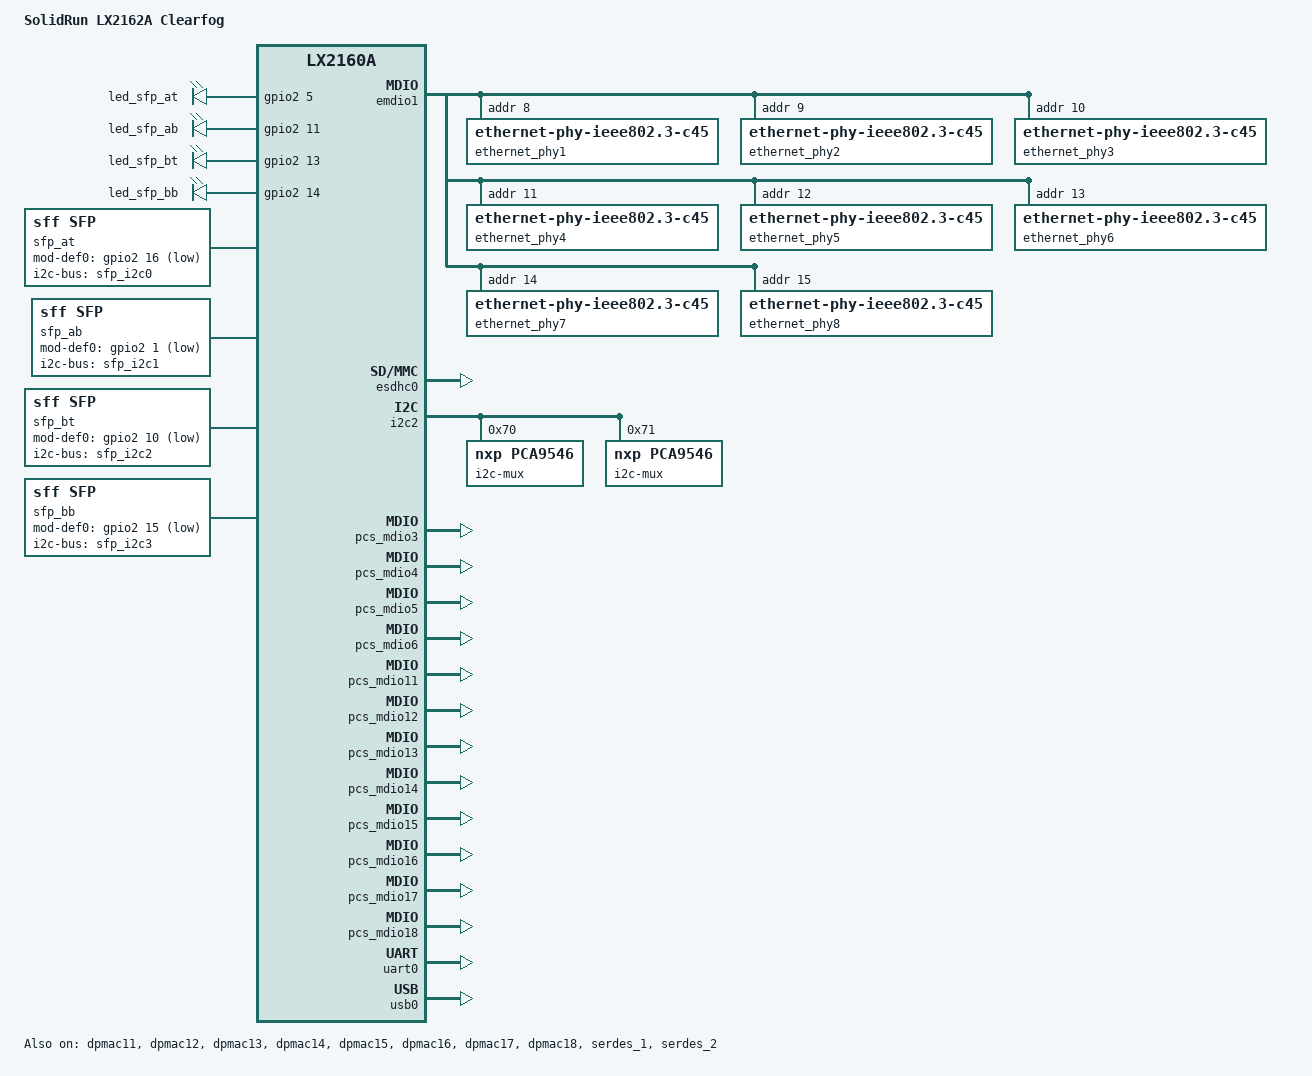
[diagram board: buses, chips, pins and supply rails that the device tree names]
// SPDX-License-Identifier: (GPL-2.0 OR MIT)
//
// Device Tree file for LX2162A Clearfog
//
// Copyright 2023 Josua Mayer <josua@solid-run.com>

/dts-v1/;

#include "fsl-lx2160a.dtsi"
#include "fsl-lx2162a-sr-som.dtsi"

/ {
	model = "SolidRun LX2162A Clearfog";
	compatible = "solidrun,lx2162a-clearfog", "solidrun,lx2162a-som", "fsl,lx2160a";

	aliases {
		crypto = &crypto;
		i2c0 = &i2c0;
		i2c1 = &i2c2;
		i2c2 = &i2c4;
		i2c3 = &sfp_i2c0;
		i2c4 = &sfp_i2c1;
		i2c5 = &sfp_i2c2;
		i2c6 = &sfp_i2c3;
		i2c7 = &mpcie1_i2c;
		i2c8 = &mpcie0_i2c;
		i2c9 = &pcieclk_i2c;
		i2c10 = &i2c5;
		mmc0 = &esdhc0;
		mmc1 = &esdhc1;
		serial0 = &uart0;
	};

	chosen {
		stdout-path = "serial0:115200n8";
	};

	leds {
		compatible = "gpio-leds";

		led_sfp_at: led-sfp-at {
			gpios = <&gpio2 5 GPIO_ACTIVE_HIGH>; /* PROC_IRQ5 */
			default-state = "off";
		};

		led_sfp_ab: led-sfp-ab {
			gpios = <&gpio2 11 GPIO_ACTIVE_HIGH>; /* PROC_IRQ11 */
			default-state = "off";
		};

		led_sfp_bt: led-sfp-bt {
			gpios = <&gpio2 13 GPIO_ACTIVE_HIGH>; /* EVT1_B */
			default-state = "off";
		};

		led_sfp_bb: led-sfp-bb {
			gpios = <&gpio2 14 GPIO_ACTIVE_HIGH>; /* EVT2_B */
			default-state = "off";
		};
	};

	sfp_at: sfp-at {
		compatible = "sff,sfp";
		i2c-bus = <&sfp_i2c0>;
		mod-def0-gpios = <&gpio2 16 GPIO_ACTIVE_LOW>; /* EVT4_B */
		maximum-power-milliwatt = <2000>;
	};

	sfp_ab: sfp-ab {
		compatible = "sff,sfp";
		i2c-bus = <&sfp_i2c1>;
		mod-def0-gpios = <&gpio2 1 GPIO_ACTIVE_LOW>; /* PROC_IRQ1 */
		maximum-power-milliwatt = <2000>;
	};

	sfp_bt: sfp-bt {
		compatible = "sff,sfp";
		i2c-bus = <&sfp_i2c2>;
		mod-def0-gpios = <&gpio2 10 GPIO_ACTIVE_LOW>; /* PROC_IRQ10 */
		maximum-power-milliwatt = <2000>;
	};

	sfp_bb: sfp-bb {
		compatible = "sff,sfp";
		i2c-bus = <&sfp_i2c3>;
		mod-def0-gpios = <&gpio2 15 GPIO_ACTIVE_LOW>; /* EVT3_B */
		maximum-power-milliwatt = <2000>;
	};
};

&dpmac3 {
	sfp = <&sfp_at>;
	managed = "in-band-status";
	phys = <&serdes_1 7>;
};

&dpmac4 {
	sfp = <&sfp_ab>;
	managed = "in-band-status";
	phys = <&serdes_1 6>;
};

&dpmac5 {
	sfp = <&sfp_bt>;
	managed = "in-band-status";
	phys = <&serdes_1 5>;
};

&dpmac6 {
	sfp = <&sfp_bb>;
	managed = "in-band-status";
	phys = <&serdes_1 4>;
};

&dpmac11 {
	phys = <&serdes_2 0>;
	phy-handle = <&ethernet_phy3>;
	phy-connection-type = "sgmii";
	status = "okay";
};

&dpmac12 {
	phys = <&serdes_2 1>;
	phy-handle = <&ethernet_phy1>;
	phy-connection-type = "sgmii";
	status = "okay";
};

&dpmac13 {
	phys = <&serdes_2 6>;
	phy-handle = <&ethernet_phy6>;
	phy-connection-type = "sgmii";
	status = "okay";
};

&dpmac14 {
	phys = <&serdes_2 7>;
	phy-handle = <&ethernet_phy8>;
	phy-connection-type = "sgmii";
	status = "okay";
};

&dpmac15 {
	phys = <&serdes_2 4>;
	phy-handle = <&ethernet_phy4>;
	phy-connection-type = "sgmii";
	status = "okay";
};

&dpmac16 {
	phys = <&serdes_2 5>;
	phy-handle = <&ethernet_phy2>;
	phy-connection-type = "sgmii";
	status = "okay";
};

&dpmac17 {
	/* override connection to on-SoM phy */
	/delete-property/ phy-handle;
	/delete-property/ phy-connection-type;

	phys = <&serdes_2 2>;
	phy-handle = <&ethernet_phy5>;
	phy-connection-type = "sgmii";
	status = "okay";
};

&dpmac18 {
	phys = <&serdes_2 3>;
	phy-handle = <&ethernet_phy7>;
	phy-connection-type = "sgmii";
	status = "okay";
};

&emdio1 {
	ethernet_phy1: ethernet-phy@8 {
		compatible = "ethernet-phy-ieee802.3-c45";
		reg = <8>;
		max-speed = <1000>;
	};

	ethernet_phy2: ethernet-phy@9 {
		compatible = "ethernet-phy-ieee802.3-c45";
		reg = <9>;
		max-speed = <1000>;
	};

	ethernet_phy3: ethernet-phy@10 {
		compatible = "ethernet-phy-ieee802.3-c45";
		reg = <10>;
		max-speed = <1000>;
	};

	ethernet_phy4: ethernet-phy@11 {
		compatible = "ethernet-phy-ieee802.3-c45";
		reg = <11>;
		max-speed = <1000>;
	};

	ethernet_phy5: ethernet-phy@12 {
		compatible = "ethernet-phy-ieee802.3-c45";
		reg = <12>;
		max-speed = <1000>;
	};

	ethernet_phy6: ethernet-phy@13 {
		compatible = "ethernet-phy-ieee802.3-c45";
		reg = <13>;
		max-speed = <1000>;
	};

	ethernet_phy7: ethernet-phy@14 {
		compatible = "ethernet-phy-ieee802.3-c45";
		reg = <14>;
		max-speed = <1000>;
	};

	ethernet_phy8: ethernet-phy@15 {
		compatible = "ethernet-phy-ieee802.3-c45";
		reg = <15>;
		max-speed = <1000>;
	};
};

&esdhc0 {
	sd-uhs-sdr104;
	sd-uhs-sdr50;
	sd-uhs-sdr25;
	sd-uhs-sdr12;
	status = "okay";
};

&ethernet_phy0 {
	/*
	 * SoM has a phy at address 1 connected to SoC Ethernet Controller 1.
	 * It competes for WRIOP MAC17, and no connector has been wired.
	 */
	status = "disabled";
};

&i2c2 {
	status = "okay";

	/* retimer@18 */

	i2c-mux@70 {
		compatible = "nxp,pca9546";
		reg = <0x70>;
		#address-cells = <1>;
		#size-cells = <0>;
		i2c-mux-idle-disconnect;

		sfp_i2c0: i2c@0 {
			#address-cells = <1>;
			#size-cells = <0>;
			reg = <0>;
		};

		sfp_i2c1: i2c@1 {
			#address-cells = <1>;
			#size-cells = <0>;
			reg = <1>;
		};

		sfp_i2c2: i2c@2 {
			#address-cells = <1>;
			#size-cells = <0>;
			reg = <2>;
		};

		sfp_i2c3: i2c@3 {
			#address-cells = <1>;
			#size-cells = <0>;
			reg = <3>;
		};
	};

	i2c-mux@71 {
		compatible = "nxp,pca9546";
		reg = <0x71>;
		#address-cells = <1>;
		#size-cells = <0>;
		i2c-mux-idle-disconnect;

		mpcie1_i2c: i2c@0 {
			#address-cells = <1>;
			#size-cells = <0>;
			reg = <0>;
		};

		mpcie0_i2c: i2c@1 {
			#address-cells = <1>;
			#size-cells = <0>;
			reg = <1>;
		};

		pcieclk_i2c: i2c@2 {
			#address-cells = <1>;
			#size-cells = <0>;
			reg = <2>;

			/* clock-controller@6b */
		};
	};
};

&pcie3 {
	status = "disabled";
};

&pcie4 {
	status = "disabled";
};

&pcs_mdio3 {
	status = "okay";
};

&pcs_mdio4 {
	status = "okay";
};

&pcs_mdio5 {
	status = "okay";
};

&pcs_mdio6 {
	status = "okay";
};

&pcs_mdio11 {
	status = "okay";
};

&pcs_mdio12 {
	status = "okay";
};

&pcs_mdio13 {
	status = "okay";
};

&pcs_mdio14 {
	status = "okay";
};

&pcs_mdio15 {
	status = "okay";
};

&pcs_mdio16 {
	status = "okay";
};

&pcs_mdio17 {
	status = "okay";
};

&pcs_mdio18 {
	status = "okay";
};

&serdes_1 {
	status = "okay";
};

&serdes_2 {
	status = "okay";
};

&uart0 {
	status = "okay";
};

&usb0 {
	status = "okay";
};
